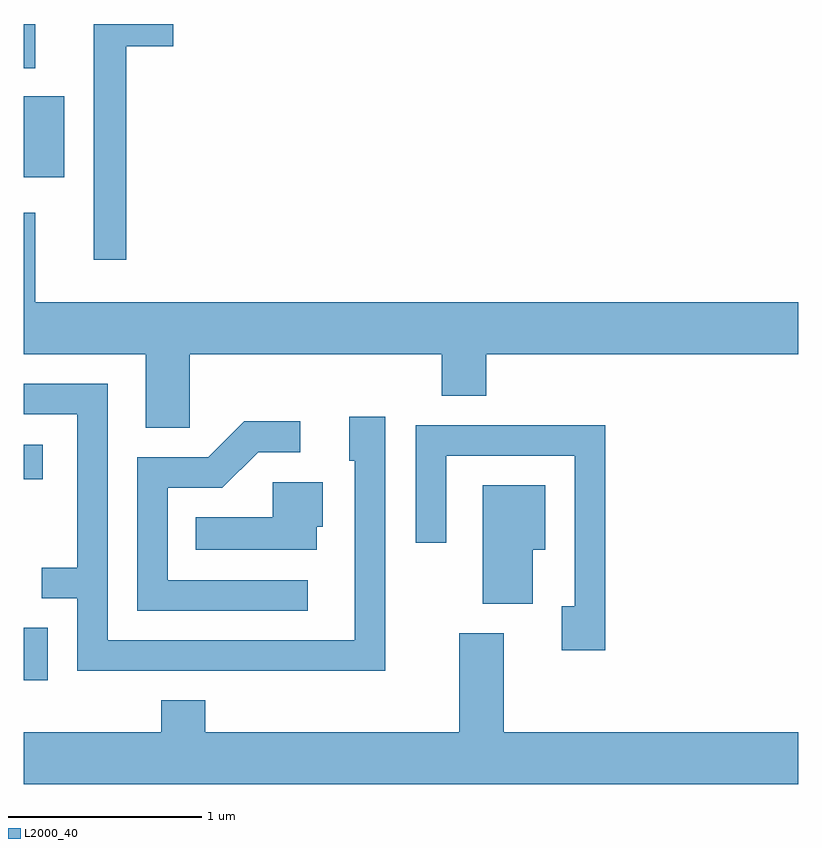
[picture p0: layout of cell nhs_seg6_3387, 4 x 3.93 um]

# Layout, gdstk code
import gdstk
lib = gdstk.Library(unit=1e-6, precision=1e-09)
def R(c, l, rs):  # rectangles x0, y0, x1, y1
    for r in rs: c.add(gdstk.rectangle(r[:2], r[2:], *l))
def P(c, l, *ps):  # polygons
    for p in ps: c.add(gdstk.Polygon(p, *l))
L2000_40 = (2000, 40)

nhs_seg6_3387 = lib.new_cell('nhs_seg6_3387')
R(nhs_seg6_3387, L2000_40, [(287.611,1572.773,287.734,1573.044), (287.611,1573.811,287.709,1573.989), (287.611,1575.371,287.819,1575.789), (287.611,1575.933,287.669,1576.162)])
P(nhs_seg6_3387, L2000_40, [(288.139,1576.046),(288.384,1576.046),(288.384,1576.162),(287.971,1576.162),(287.971,1574.943),(288.139,1574.943)],
  [(287.669,1575.188),(287.611,1575.188),(287.611,1574.456),(288.241,1574.456),(288.241,1574.076),(288.469,1574.076),(288.469,1574.456),(289.771,1574.456),(289.771,1574.241),(289.999,1574.241),(289.999,1574.456),(291.611,1574.456),(291.611,1574.724),(287.669,1574.724)],
  [(289.479,1574.134),(289.291,1574.134),(289.291,1573.906),(289.321,1573.906),(289.321,1572.979),(288.044,1572.979),(288.044,1574.304),(287.611,1574.304),(287.611,1574.146),(287.886,1574.146),(287.886,1573.354),(287.703,1573.354),(287.703,1573.196),(287.886,1573.196),(287.886,1572.821),(289.479,1572.821)],
  [(289.078,1573.289),(288.354,1573.289),(288.354,1573.766),(288.637,1573.766),(288.822,1573.951),(289.038,1573.951),(289.038,1574.109),(288.749,1574.109),(288.564,1573.924),(288.196,1573.924),(288.196,1573.131),(289.078,1573.131)],
  [(290.614,1574.089),(289.636,1574.089),(289.636,1573.483),(289.794,1573.483),(289.794,1573.931),(290.456,1573.931),(290.456,1573.154),(290.391,1573.154),(290.391,1572.926),(290.614,1572.926)],
  [(289.124,1573.566),(289.154,1573.566),(289.154,1573.794),(288.896,1573.794),(288.896,1573.614),(288.498,1573.614),(288.498,1573.446),(289.124,1573.446)],
  [(290.239,1573.446),(290.304,1573.446),(290.304,1573.779),(289.981,1573.779),(289.981,1573.166),(290.239,1573.166)],
  [(291.611,1572.504),(290.089,1572.504),(290.089,1573.014),(289.861,1573.014),(289.861,1572.504),(288.549,1572.504),(288.549,1572.669),(288.321,1572.669),(288.321,1572.504),(287.611,1572.504),(287.611,1572.236),(291.611,1572.236)])

lib.write_gds('nhs_seg6_3387.gds')
